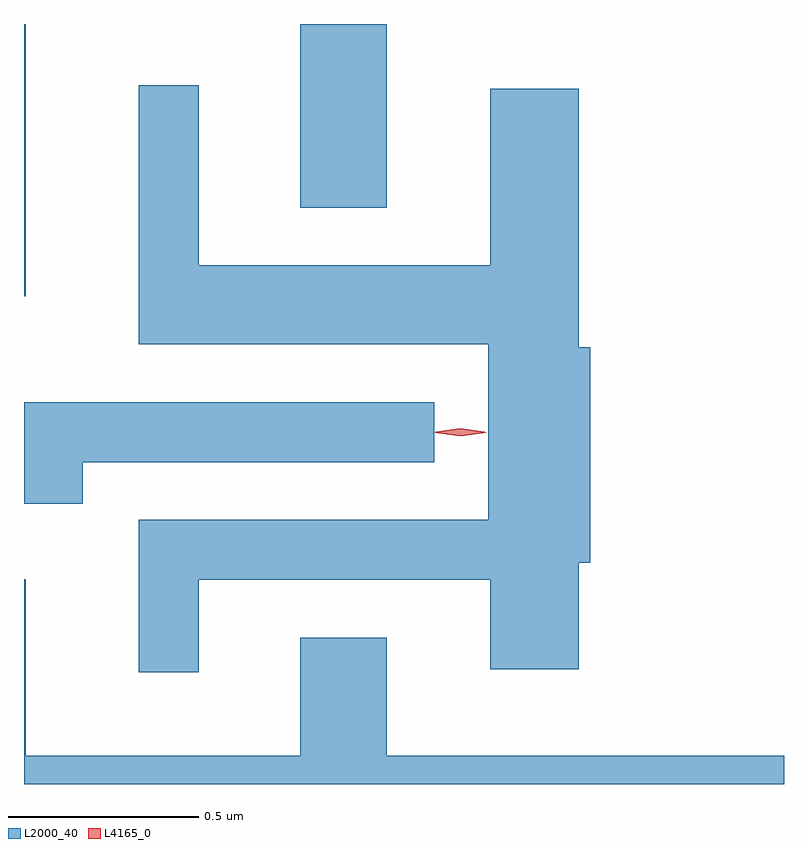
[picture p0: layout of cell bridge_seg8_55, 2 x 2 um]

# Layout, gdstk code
import gdstk
lib = gdstk.Library(unit=1e-6, precision=1e-09)
def R(c, l, rs):  # rectangles x0, y0, x1, y1
    for r in rs: c.add(gdstk.rectangle(r[:2], r[2:], *l))
def P(c, l, *ps):  # polygons
    for p in ps: c.add(gdstk.Polygon(p, *l))
L2000_40 = (2000, 40)
L4165_0 = (4165, 0)

bridge_seg8_55 = lib.new_cell('bridge_seg8_55')
R(bridge_seg8_55, L2000_40, [(1569.344,1904.493,1569.349,1905.209), (1570.071,1904.726,1570.299,1905.209)])
P(bridge_seg8_55, L2000_40, [(1569.804,1903.746),(1570.571,1903.746),(1570.571,1903.511),(1570.804,1903.511),(1570.804,1903.791),(1570.834,1903.791),(1570.834,1904.359),(1570.804,1904.359),(1570.804,1905.039),(1570.571,1905.039),(1570.571,1904.574),(1569.804,1904.574),(1569.804,1905.048),(1569.646,1905.048),(1569.646,1904.366),(1570.566,1904.366),(1570.566,1903.904),(1569.646,1903.904),(1569.646,1903.503),(1569.804,1903.503)],
  [(1569.499,1904.056),(1570.423,1904.056),(1570.423,1904.214),(1569.344,1904.214),(1569.344,1903.946),(1569.499,1903.946)],
  [(1571.344,1903.284),(1570.299,1903.284),(1570.299,1903.594),(1570.071,1903.594),(1570.071,1903.284),(1569.349,1903.284),(1569.349,1903.748),(1569.344,1903.748),(1569.344,1903.209),(1571.344,1903.209)])
P(bridge_seg8_55, L4165_0, [(1570.493,1904.124),(1570.424,1904.134),(1570.424,1904.134),(1570.424,1904.134),(1570.493,1904.144),(1570.561,1904.134),(1570.562,1904.134),(1570.561,1904.134)],
  [(1570.492,1904.125),(1570.427,1904.135),(1570.427,1904.135),(1570.427,1904.136),(1570.492,1904.145),(1570.557,1904.136),(1570.557,1904.135),(1570.557,1904.135)])

lib.write_gds('bridge_seg8_55.gds')
